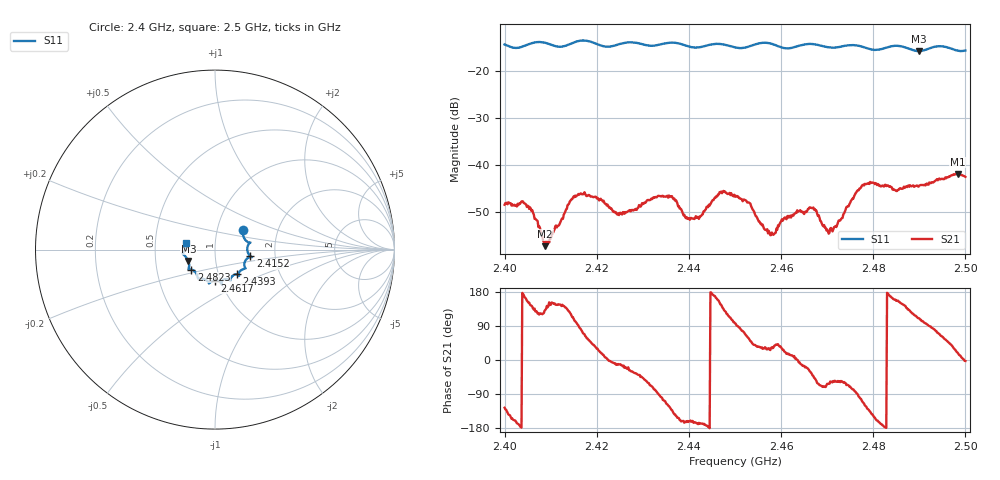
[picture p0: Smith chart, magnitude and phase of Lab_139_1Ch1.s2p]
# Hz S RI R 50
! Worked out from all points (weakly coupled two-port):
!   601 points, 2.4 GHz to 2.5 GHz, reference 50 ohm
!   highest |S21| = -42.02 dB at 2.4983 GHz (marker M1); lowest = -57.4 dB at 2.4088 GHz (marker M2)
!   lowest |S11| = -15.8 dB at 2.4898 GHz (marker M3), VSWR 1.38, Z = 36.8 - j4.77 ohm
!   |S11| at or under -10 dB: start of sweep to end of sweep
!   S12 and S22 are empty: the file has one direction only
!   S11 on the Smith chart (normalised r, x): 2.4 GHz: 1.33, +0.30; 2.4152 GHz: 1.49, -0.11; 2.4393 GHz: 1.23, -0.35; 2.4617 GHz: 0.94, -0.34; 2.4823 GHz: 0.75, -0.17; 2.5 GHz: 0.72, +0.05
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2.4e9  0.1553 0.1092  -0.00219 -0.00303  0 0  0 0
2.4055e9  0.1889 0.0389  -0.00292 0.00196  0 0  0 0
2.408833e9  0.1941 0.0375  -0.000916 0.001  0 0  0 0
2.415167e9  0.197 -0.037  -0.00107 0.00437  0 0  0 0
2.416667e9  0.2047 -0.0425  0.000977 0.00475  0 0  0 0
2.425e9  0.1658 -0.0969  0.003 -0.000621  0 0  0 0
2.433333e9  0.1317 -0.1337  9.98e-05 -0.00466  0 0  0 0
2.436667e9  0.1342 -0.146  -0.00331 -0.00274  0 0  0 0
2.439333e9  0.1229 -0.1378  -0.00257 -0.000824  0 0  0 0
2.4425e9  0.0934 -0.1512  -0.00274 -0.00062  0 0  0 0
2.447167e9  0.0843 -0.1716  -0.00386 0.00311  0 0  0 0
2.45e9  0.0663 -0.1639  -0.000538 0.00453  0 0  0 0
2.458e9  0.0375 -0.1888  0.00158 0.00105  0 0  0 0
2.461667e9  0.00034 -0.1725  0.00262 0.000774  0 0  0 0
2.466667e9  -0.0337 -0.189  0.00277 -0.00206  0 0  0 0
2.470667e9  -0.0531 -0.1678  0.00114 -0.00175  0 0  0 0
2.477667e9  -0.0975 -0.1505  -0.00209 -0.00569  0 0  0 0
2.482333e9  -0.1323 -0.111  -0.00583 -0.000438  0 0  0 0
2.483333e9  -0.1409 -0.1096  -0.00587 0.000771  0 0  0 0
2.489833e9  -0.1484 -0.0632  -0.00203 0.00546  0 0  0 0
2.498333e9  -0.1627 0.008  0.00749 0.00258  0 0  0 0
2.5e9  -0.1599 0.0362  0.00739 -0.000348  0 0  0 0
